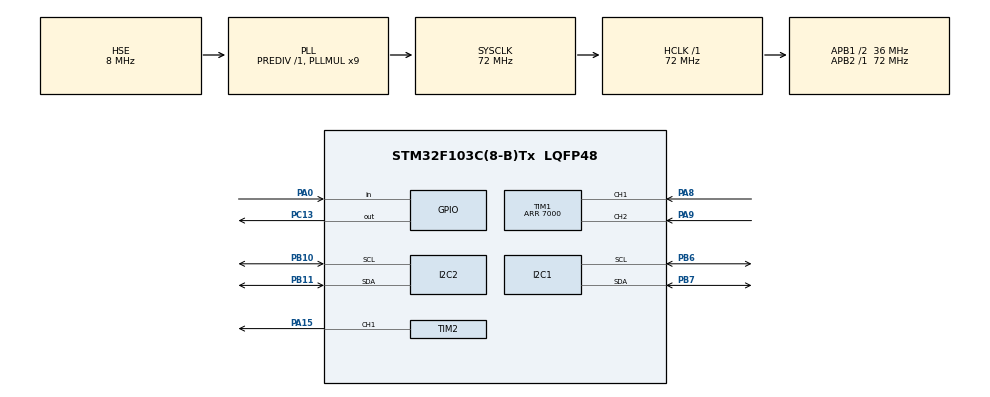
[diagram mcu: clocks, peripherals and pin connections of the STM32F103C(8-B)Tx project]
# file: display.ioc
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Mcu.Family=STM32F1
Mcu.Name=STM32F103C(8-B)Tx
Mcu.Package=LQFP48
NVIC.PriorityGroup=NVIC_PRIORITYGROUP_4
NVIC.TIM2_IRQn=true\:0\:0\:false\:false\:true\:true\:true\:true
PA0-WKUP.Signal=GPIO_Input
PA13.Mode=Serial_Wire
PA13.Signal=SYS_JTMS-SWDIO
PA14.Mode=Serial_Wire
PA14.Signal=SYS_JTCK-SWCLK
PA15.Signal=S_TIM2_CH1_ETR
PA8.Signal=S_TIM1_CH1
PA9.Signal=S_TIM1_CH2
PB10.Mode=I2C
PB10.Signal=I2C2_SCL
PB11.Mode=I2C
PB11.Signal=I2C2_SDA
PB6.Mode=I2C
PB6.Signal=I2C1_SCL
PB7.Mode=I2C
PB7.Signal=I2C1_SDA
PC13-TAMPER-RTC.Signal=GPIO_Output
PD0-OSC_IN.Mode=HSE-External-Oscillator
PD0-OSC_IN.Signal=RCC_OSC_IN
PD1-OSC_OUT.Mode=HSE-External-Oscillator
PD1-OSC_OUT.Signal=RCC_OSC_OUT
ProjectManager.HeapSize=0x200
ProjectManager.StackSize=0x400
ProjectManager.TargetToolchain=STM32CubeIDE
RCC.AHBFreq_Value=72000000
RCC.APB1CLKDivider=RCC_HCLK_DIV2
RCC.APB1Freq_Value=36000000
RCC.APB1TimFreq_Value=72000000
RCC.APB2Freq_Value=72000000
RCC.APB2TimFreq_Value=72000000
RCC.HCLKFreq_Value=72000000
RCC.PLLMUL=RCC_PLL_MUL9
RCC.PLLSourceVirtual=RCC_PLLSOURCE_HSE
RCC.SYSCLKFreq_VALUE=72000000
RCC.SYSCLKSource=RCC_SYSCLKSOURCE_PLLCLK
RCC.USBFreq_Value=72000000
SH.S_TIM1_CH1.0=TIM1_CH1,Encoder_Interface
SH.S_TIM1_CH2.0=TIM1_CH2,Encoder_Interface
SH.S_TIM2_CH1_ETR.0=TIM2_CH1,PWM Generation1 CH1
TIM1.CounterMode=TIM_COUNTERMODE_UP
TIM1.EncoderMode=TIM_ENCODERMODE_TI12
TIM1.Period=7000
TIM2.Channel-PWM\ Generation1\ CH1=TIM_CHANNEL_1
TIM2.Period=999
TIM2.Prescaler=7199
TIM2.Pulse-PWM\ Generation1\ CH1=0
board=custom

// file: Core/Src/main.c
/* USER CODE BEGIN Header */
/**
  ******************************************************************************
  * @file           : main.c
  * @brief          : Main program body
  ******************************************************************************
  * @attention
  *
  * Copyright (c) 2025 STMicroelectronics.
  * All rights reserved.
  *
  * This software is licensed under terms that can be found in the LICENSE file
  * in the root directory of this software component.
  * If no LICENSE file comes with this software, it is provided AS-IS.
  *
  ******************************************************************************
  */
/* USER CODE END Header */
#include "main.h"

/* USER CODE BEGIN Includes */
#include "ssd1306.h"
#include "ssd1306_fonts.h"
#include <math.h>
#include <string.h>
#include <stdio.h>
#include <stdint.h>
#include <stdlib.h>
#include "si5351.h"
#include "stm32f1xx_hal_i2c.h"
/* USER CODE END Includes */

I2C_HandleTypeDef hi2c1;
I2C_HandleTypeDef hi2c2;

TIM_HandleTypeDef htim1;
TIM_HandleTypeDef htim2;

/* USER CODE BEGIN PV */

int freq[3];
int prev_encoder;
char choice;
char num_string [3][7];
uint8_t choiced_num;
uint8_t choiced_channel;
char interface_mode;
/* USER CODE END PV */

void SystemClock_Config(void);
static void MX_GPIO_Init(void);
static void MX_I2C1_Init(void);
static void MX_TIM1_Init(void);
static void MX_I2C2_Init(void);
static void MX_TIM2_Init(void);
/* USER CODE BEGIN PFP */
err_t si5351_set_frequency(uint8_t output, uint32_t frequency) {
    // Проверка допустимости выхода и частоты
    if (output > 2) return ERROR_INVALIDPARAMETER;
    if (frequency < 8000 || frequency > 150000000) return ERROR_INVALIDPARAMETER;

    // Определение R-делителя для частот < 500 кГц
    si5351RDiv_t r_div = SI5351_R_DIV_1;
    uint32_t r_div_value = 1;
    if (frequency < 500000) {
        uint32_t min_freq = frequency;
        while (min_freq < 500000 && r_div_value < 128) {
            r_div_value *= 2;
            min_freq = frequency * r_div_value;
        }
        switch (r_div_value) {
            case 2:   r_div = SI5351_R_DIV_2;   break;
            case 4:   r_div = SI5351_R_DIV_4;   break;
            case 8:   r_div = SI5351_R_DIV_8;   break;
            case 16:  r_div = SI5351_R_DIV_16;  break;
            case 32:  r_div = SI5351_R_DIV_32;  break;
            case 64:  r_div = SI5351_R_DIV_64;  break;
            case 128: r_div = SI5351_R_DIV_128; break;
            default:  r_div = SI5351_R_DIV_1;   break;
        }
    }

    // Расчет частоты для мультисинта (до R-делителя)
    double f_ms = (double)frequency * r_div_value;

    // Подбор делителя мультисинта (8-900)
    uint32_t div = (uint32_t)(800000000.0 / f_ms); // Целевой делитель для ~800 МГц
    if (div < 8) div = 8;
    if (div > 900) div = 900;

    // Расчет частоты PLL
    double f_pll = f_ms * div;
    if (f_pll < 600000000 || f_pll > 900000000) {
        // Корректировка при выходе за пределы 600-900 МГц
        div = (f_pll < 600000000) ? (uint32_t)ceil(600000000.0 / f_ms) : 900;
        f_pll = f_ms * div;
    }

    // Настройка PLL
    double f_xtal = (double)m_si5351Config.crystalFreq;
    uint32_t mult = (uint32_t)(f_pll / f_xtal);
    double fraction = (f_pll / f_xtal) - mult;
    uint32_t num = (uint32_t)round(fraction * 1048575.0); // 20-битный числитель
    uint32_t denom = 1048575; // 20-битный знаменатель

    // Выбор PLL: выход 2 → PLL_B, остальные → PLL_A
    si5351PLL_t pll = (output == 2) ? SI5351_PLL_B : SI5351_PLL_A;

    // Применение настроек
    ASSERT_STATUS(si5351_setupPLL(pll, mult, num, denom));
    ASSERT_STATUS(si5351_setupMultisynth(output, pll, div, 0, 1)); // Целочисленный режим
    ASSERT_STATUS(si5351_setupRdiv(output, r_div));

    return ERROR_NONE;
}

void int_to_str(int num, char *str) {
    char tmp[12]; // Временный буфер
    int i = 0;

    // Обрабатываем 0 отдельно
    if (num == 0) {
        str[0] = '0';
        str[1] = '\0';
        return;
    }

    // Записываем цифры в обратном порядке
    while (num > 0) {
        tmp[i++] = '0' + (num % 10);
        num /= 10;
    }

    // Разворачиваем строку
    int j = 0;
    while (i-- > 0) {
        str[j++] = tmp[i];
    }
    str[j] = '\0';
}

int get_encoder(){
	return (int)TIM1->CNT/4;//для энкодера использующегося в проекте
}

void set_encoder(int e){
	TIM1->CNT=e*4;
}

void print_interface_mode0(){
	ssd1306_SetCursor(1, 1);
	ssd1306_Fill(Black);
	ssd1306_WriteString(num_string[0], Font_7x10, White);
	ssd1306_WriteString("   ", Font_7x10, White);
	ssd1306_WriteString(num_string[1], Font_7x10, White);
	ssd1306_SetCursor(1, 10);//для переноса на следующую строку
	ssd1306_WriteString(num_string[2], Font_7x10, White);
	ssd1306_WriteString("   ", Font_7x10, White);
	if(choiced_channel==0){
		ssd1306_WriteString("ch0", Font_7x10, White);
	}else if(choiced_channel==1){
		ssd1306_WriteString("ch1", Font_7x10, White);
	}else{
		ssd1306_WriteString("ch2", Font_7x10, White);
	}
	ssd1306_UpdateScreen();
}

void print_interface_mode1(){
	ssd1306_SetCursor(1, 1);
	ssd1306_Fill(Black);
	if(choiced_num==0){
		uint16_t size=strlen(num_string[choiced_channel]);
		for(int i=size;i<6;++i){
			ssd1306_WriteString("0", Font_7x10, White);
		}
		ssd1306_WriteString(num_string[choiced_channel], Font_7x10, White);

		ssd1306_WriteString("   ", Font_7x10, White);
		ssd1306_WriteString("send", Font_11x18, White);
	}else{
		uint16_t size=strlen(num_string[choiced_channel]);
		for(int i=5;i>size-1;--i){
			if(i==choiced_num-1){
				ssd1306_WriteString("0", Font_11x18, White);
			}else{
				ssd1306_WriteString("0", Font_7x10, White);
			}
		}
		for(int i=0;i<size;++i){
			if(i==size-choiced_num){

				char str[2] = {num_string[choiced_channel][i], '\0'};
				ssd1306_WriteString(str, Font_11x18, White);
			}else{

				char str[2] = {num_string[choiced_channel][i], '\0'};
				ssd1306_WriteString(str, Font_7x10, White);
			}
		}
		ssd1306_WriteString("   ", Font_7x10, White);
		ssd1306_WriteString("send", Font_7x10, White);
	}
	ssd1306_UpdateScreen();
}

void int_mode_0(){
	if (HAL_GPIO_ReadPin(GPIOA, GPIO_PIN_1) == GPIO_PIN_RESET) {  // Если кнопка нажата (подтяжка к VCC)
		choice=1;
	}
	while (HAL_GPIO_ReadPin(GPIOA, GPIO_PIN_1) == GPIO_PIN_RESET);  // Ждём отпускания
	if(choice==0){
		choiced_channel=get_encoder()%3;
		print_interface_mode0();
	}else if(choice==1){
		set_encoder(1);
		choiced_num=1;//потому что есть send который будем считать за 0 положение
		interface_mode=1;
		choice=0;
		print_interface_mode1();
	}

}

void min_freq(){
	num_string[choiced_channel][0]='8';
	num_string[choiced_channel][1]='\0';
}

void max_freq(){
	num_string[choiced_channel][0]='1';
	num_string[choiced_channel][1]='6';
	num_string[choiced_channel][2]='0';
	num_string[choiced_channel][3]='0';
	num_string[choiced_channel][4]='0';
	num_string[choiced_channel][5]='0';
	num_string[choiced_channel][6]='\0';

}

void int_mode_1(){
	if (HAL_GPIO_ReadPin(GPIOA, GPIO_PIN_1) == GPIO_PIN_RESET) {  // Если кнопка нажата (подтяжка к VCC)
		if(choice==0){

			choice=1;
			if(choiced_num!=0){
				prev_encoder=1000;
				set_encoder(1000);

			}
		}else{
			choice=0;
			set_encoder(choiced_num);
		}

	}
	while (HAL_GPIO_ReadPin(GPIOA, GPIO_PIN_1) == GPIO_PIN_RESET);  // Ждём отпускания
	if(choice==0){
		choiced_num=get_encoder()%7;
		print_interface_mode1();
	}else if(choice==1){
		if(choiced_num==0){
			choice=0;
			interface_mode=0;
			if(freq[choiced_channel]<8){
				freq[choiced_channel]=8;
				min_freq();
			}else if(freq[choiced_channel]>160000){
				freq[choiced_channel]=160000;
				max_freq();
			}
			/*
			si5351_set_frequency(choiced_channel, freq[choiced_channel]*1000);
			si5351_enableOutputs(0xFF);
			*/
			set_encoder(choiced_channel);
			print_interface_mode0();
		}else{
			int delta = get_encoder();

			freq[choiced_channel]+=(delta-prev_encoder)*pow(10,choiced_num-1);
			if(freq[choiced_channel]<0){
				freq[choiced_channel]=1000000+freq[choiced_channel];
			}else if(freq[choiced_channel]>999999){
				freq[choiced_channel]=(7+(delta-prev_encoder)*pow(10,choiced_num-1));
			}

			//set_encoder(1000);
			prev_encoder=delta;
			int_to_str(freq[choiced_channel],num_string[choiced_channel]);
			print_interface_mode1();

		}
	}
}
void HAL_TIM_PeriodElapsedCallback(TIM_HandleTypeDef *htim)
{
    if (htim->Instance == TIM2)
    {
    	if(interface_mode==0){
    		int_mode_0();
    	}else{
    		int_mode_1();
    	}
    }
}
/* USER CODE END PFP */

int main(void)
{

  /* MCU Configuration--------------------------------------------------------*/

  /* Reset of all peripherals, Initializes the Flash interface and the Systick. */
  HAL_Init();

  /* Configure the system clock */
  SystemClock_Config();

  /* Initialize all configured peripherals */
  MX_GPIO_Init();
  MX_I2C1_Init();
  MX_TIM1_Init();
  MX_I2C2_Init();
  MX_TIM2_Init();
  /* USER CODE BEGIN 2 */
  HAL_TIM_Encoder_Start(&htim1, TIM_CHANNEL_ALL);
  ssd1306_Init();
  //si5351_Init();
  set_encoder(0);//выставление энкодера в 0
      freq[0]=8;//начальная минимальная частота канала 0
      freq[1]=8;//начальная минимальная частота канала 1
      freq[2]=8;//начальная минимальная частота канала 2
      choice=0;//переменная для считывания был ли нажат энкодер
      choiced_channel=2;
      min_freq();
      choiced_channel=1;
      min_freq();
      choiced_num=0;//переменная для определения выбранной цифры в массиве частоты
      choiced_channel=0;// номер выбранного канала
      min_freq();
      interface_mode=0;//переменная для определения что должно показыватиься на экране(0-значения частот, 1-редактирование частоты)
      prev_encoder=8;
      print_interface_mode0();
  /*
  si5351_set_frequency(0, 8000);//устанвливаем частоту в минимальную
  si5351_set_frequency(1, 8000);//устанвливаем частоту в минимальную
  si5351_set_frequency(2, 8000);//устанвливаем частоту в минимальную
  si5351_enableOutputs(0xFF);//включаем все выходы
  */
  print_interface_mode0();//выводим на экран начальный интерфейс
  HAL_TIM_Base_Start_IT(&htim2);  // Запуск таймера с прерыванием
  /* USER CODE END 2 */

  /* Infinite loop */
  while (1)
  {

    /* USER CODE BEGIN 3 */
	  //HAL_TIM_PeriodElapsedCallback(&htim2);
	  /*if(interface_mode==0){
		  int_mode_0();
	  }else{
		  int_mode_1();
	  }*/
  }
  /* USER CODE END 3 */
}

void SystemClock_Config(void)
{
  RCC_OscInitTypeDef RCC_OscInitStruct = {0};
  RCC_ClkInitTypeDef RCC_ClkInitStruct = {0};

  /** Initializes the RCC Oscillators according to the specified parameters
  * in the RCC_OscInitTypeDef structure.
  */
  RCC_OscInitStruct.OscillatorType = RCC_OSCILLATORTYPE_HSE;
  RCC_OscInitStruct.HSEState = RCC_HSE_ON;
  RCC_OscInitStruct.HSEPredivValue = RCC_HSE_PREDIV_DIV1;
  RCC_OscInitStruct.HSIState = RCC_HSI_ON;
  RCC_OscInitStruct.PLL.PLLState = RCC_PLL_ON;
  RCC_OscInitStruct.PLL.PLLSource = RCC_PLLSOURCE_HSE;
  RCC_OscInitStruct.PLL.PLLMUL = RCC_PLL_MUL9;
  if (HAL_RCC_OscConfig(&RCC_OscInitStruct) != HAL_OK)
  {
    Error_Handler();
  }

  /** Initializes the CPU, AHB and APB buses clocks
  */
  RCC_ClkInitStruct.ClockType = RCC_CLOCKTYPE_HCLK|RCC_CLOCKTYPE_SYSCLK
                              |RCC_CLOCKTYPE_PCLK1|RCC_CLOCKTYPE_PCLK2;
  RCC_ClkInitStruct.SYSCLKSource = RCC_SYSCLKSOURCE_PLLCLK;
  RCC_ClkInitStruct.AHBCLKDivider = RCC_SYSCLK_DIV1;
  RCC_ClkInitStruct.APB1CLKDivider = RCC_HCLK_DIV2;
  RCC_ClkInitStruct.APB2CLKDivider = RCC_HCLK_DIV1;

  if (HAL_RCC_ClockConfig(&RCC_ClkInitStruct, FLASH_LATENCY_2) != HAL_OK)
  {
    Error_Handler();
  }
}

static void MX_I2C1_Init(void)
{

  hi2c1.Instance = I2C1;
  hi2c1.Init.ClockSpeed = 100000;
  hi2c1.Init.DutyCycle = I2C_DUTYCYCLE_2;
  hi2c1.Init.OwnAddress1 = 0;
  hi2c1.Init.AddressingMode = I2C_ADDRESSINGMODE_7BIT;
  hi2c1.Init.DualAddressMode = I2C_DUALADDRESS_DISABLE;
  hi2c1.Init.OwnAddress2 = 0;
  hi2c1.Init.GeneralCallMode = I2C_GENERALCALL_DISABLE;
  hi2c1.Init.NoStretchMode = I2C_NOSTRETCH_DISABLE;
  if (HAL_I2C_Init(&hi2c1) != HAL_OK)
  {
    Error_Handler();
  }

}

static void MX_I2C2_Init(void)
{

  hi2c2.Instance = I2C2;
  hi2c2.Init.ClockSpeed = 100000;
  hi2c2.Init.DutyCycle = I2C_DUTYCYCLE_2;
  hi2c2.Init.OwnAddress1 = 0;
  hi2c2.Init.AddressingMode = I2C_ADDRESSINGMODE_7BIT;
  hi2c2.Init.DualAddressMode = I2C_DUALADDRESS_DISABLE;
  hi2c2.Init.OwnAddress2 = 0;
  hi2c2.Init.GeneralCallMode = I2C_GENERALCALL_DISABLE;
  hi2c2.Init.NoStretchMode = I2C_NOSTRETCH_DISABLE;
  if (HAL_I2C_Init(&hi2c2) != HAL_OK)
  {
    Error_Handler();
  }

}

static void MX_TIM1_Init(void)
{

  TIM_Encoder_InitTypeDef sConfig = {0};
  TIM_MasterConfigTypeDef sMasterConfig = {0};

  htim1.Instance = TIM1;
  htim1.Init.Prescaler = 0;
  htim1.Init.CounterMode = TIM_COUNTERMODE_UP;
  htim1.Init.Period = 7000;
  htim1.Init.ClockDivision = TIM_CLOCKDIVISION_DIV1;
  htim1.Init.RepetitionCounter = 0;
  htim1.Init.AutoReloadPreload = TIM_AUTORELOAD_PRELOAD_DISABLE;
  sConfig.EncoderMode = TIM_ENCODERMODE_TI12;
  sConfig.IC1Polarity = TIM_ICPOLARITY_RISING;
  sConfig.IC1Selection = TIM_ICSELECTION_DIRECTTI;
  sConfig.IC1Prescaler = TIM_ICPSC_DIV1;
  sConfig.IC1Filter = 0;
  sConfig.IC2Polarity = TIM_ICPOLARITY_RISING;
  sConfig.IC2Selection = TIM_ICSELECTION_DIRECTTI;
  sConfig.IC2Prescaler = TIM_ICPSC_DIV1;
  sConfig.IC2Filter = 0;
  if (HAL_TIM_Encoder_Init(&htim1, &sConfig) != HAL_OK)
  {
    Error_Handler();
  }
  sMasterConfig.MasterOutputTrigger = TIM_TRGO_RESET;
  sMasterConfig.MasterSlaveMode = TIM_MASTERSLAVEMODE_DISABLE;
  if (HAL_TIMEx_MasterConfigSynchronization(&htim1, &sMasterConfig) != HAL_OK)
  {
    Error_Handler();
  }

}

static void MX_TIM2_Init(void)
{

  TIM_MasterConfigTypeDef sMasterConfig = {0};
  TIM_OC_InitTypeDef sConfigOC = {0};

  htim2.Instance = TIM2;
  htim2.Init.Prescaler = 7199;
  htim2.Init.CounterMode = TIM_COUNTERMODE_UP;
  htim2.Init.Period = 999;
  htim2.Init.ClockDivision = TIM_CLOCKDIVISION_DIV1;
  htim2.Init.AutoReloadPreload = TIM_AUTORELOAD_PRELOAD_DISABLE;
  if (HAL_TIM_PWM_Init(&htim2) != HAL_OK)
  {
    Error_Handler();
  }
  sMasterConfig.MasterOutputTrigger = TIM_TRGO_RESET;
  sMasterConfig.MasterSlaveMode = TIM_MASTERSLAVEMODE_DISABLE;
  if (HAL_TIMEx_MasterConfigSynchronization(&htim2, &sMasterConfig) != HAL_OK)
  {
    Error_Handler();
  }
  sConfigOC.OCMode = TIM_OCMODE_PWM1;
  sConfigOC.Pulse = 0;
  sConfigOC.OCPolarity = TIM_OCPOLARITY_HIGH;
  sConfigOC.OCFastMode = TIM_OCFAST_DISABLE;
  if (HAL_TIM_PWM_ConfigChannel(&htim2, &sConfigOC, TIM_CHANNEL_1) != HAL_OK)
  {
    Error_Handler();
  }
  HAL_TIM_MspPostInit(&htim2);

}

static void MX_GPIO_Init(void)
{
  GPIO_InitTypeDef GPIO_InitStruct = {0};

  /* GPIO Ports Clock Enable */
  __HAL_RCC_GPIOC_CLK_ENABLE();
  __HAL_RCC_GPIOD_CLK_ENABLE();
  __HAL_RCC_GPIOA_CLK_ENABLE();
  __HAL_RCC_GPIOB_CLK_ENABLE();

  /*Configure GPIO pin Output Level */
  HAL_GPIO_WritePin(GPIOC, GPIO_PIN_13, GPIO_PIN_RESET);

  /*Configure GPIO pin : PC13 */
  GPIO_InitStruct.Pin = GPIO_PIN_13;
  GPIO_InitStruct.Mode = GPIO_MODE_OUTPUT_PP;
  GPIO_InitStruct.Pull = GPIO_NOPULL;
  GPIO_InitStruct.Speed = GPIO_SPEED_FREQ_LOW;
  HAL_GPIO_Init(GPIOC, &GPIO_InitStruct);

  /*Configure GPIO pin : PA0 */
  GPIO_InitStruct.Pin = GPIO_PIN_0;
  GPIO_InitStruct.Mode = GPIO_MODE_INPUT;
  GPIO_InitStruct.Pull = GPIO_NOPULL;
  HAL_GPIO_Init(GPIOA, &GPIO_InitStruct);

}

void Error_Handler(void)
{
  __disable_irq();
  while (1)
  {
  }
}
